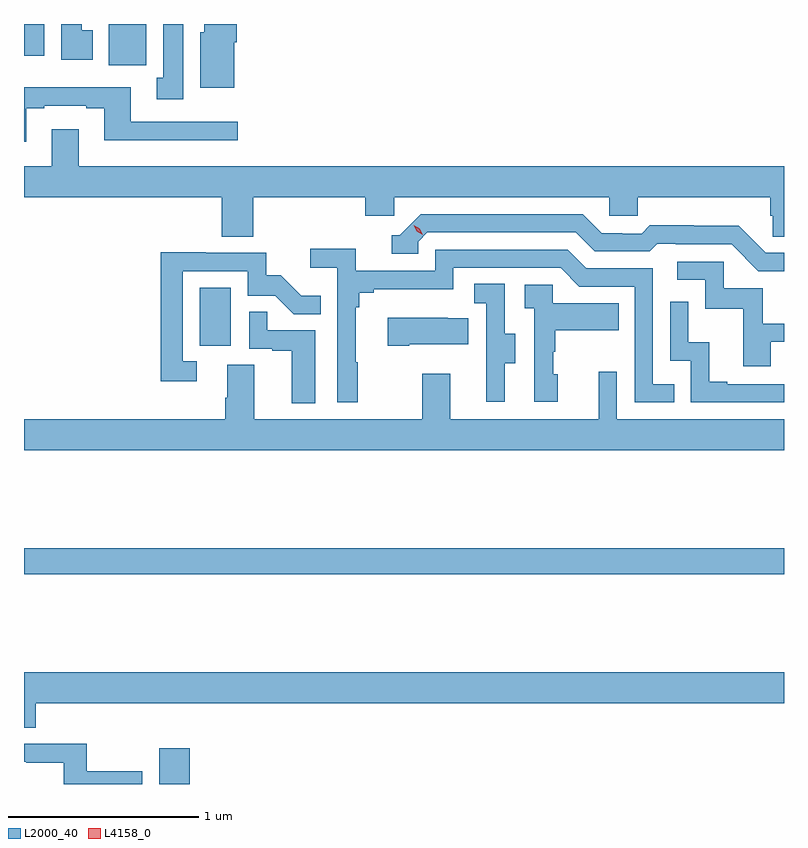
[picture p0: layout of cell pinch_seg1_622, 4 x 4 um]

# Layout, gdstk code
import gdstk
lib = gdstk.Library(unit=1e-6, precision=1e-09)
def R(c, l, rs):  # rectangles x0, y0, x1, y1
    for r in rs: c.add(gdstk.rectangle(r[:2], r[2:], *l))
def P(c, l, *ps):  # polygons
    for p in ps: c.add(gdstk.Polygon(p, *l))
L2000_40 = (2000, 40)
L4158_0 = (4158, 0)

pinch_seg1_622 = lib.new_cell('pinch_seg1_622')
R(pinch_seg1_622, L2000_40, [(1126.589,514.012,1126.75,514.201), (1125.878,515.116,1129.878,515.252), (1126.802,516.318,1126.966,516.625), (1126.325,517.796,1126.522,518.012), (1125.878,517.844,1125.985,518.012)])
P(pinch_seg1_622, L2000_40, [(1126.717,518.012),(1126.61,518.012),(1126.61,517.73),(1126.577,517.73),(1126.577,517.617),(1126.717,517.617)],
  [(1126.984,517.916),(1126.997,517.916),(1126.997,518.012),(1126.826,518.012),(1126.826,517.968),(1126.805,517.968),(1126.805,517.676),(1126.984,517.676)],
  [(1126.24,517.98),(1126.183,517.98),(1126.183,518.012),(1126.073,518.012),(1126.073,517.824),(1126.24,517.824)],
  [(1125.889,517.569),(1125.985,517.569),(1125.985,517.581),(1126.205,517.581),(1126.205,517.569),(1126.301,517.569),(1126.301,517.4),(1127.002,517.4),(1127.002,517.497),(1126.441,517.497),(1126.441,517.678),(1125.878,517.678),(1125.878,517.392),(1125.889,517.392)],
  [(1127.084,517.1),(1127.675,517.1),(1127.675,517.002),(1127.826,517.002),(1127.826,517.1),(1128.957,517.1),(1128.957,517.002),(1129.107,517.002),(1129.107,517.1),(1129.805,517.1),(1129.805,517.002),(1129.819,517.002),(1129.819,516.892),(1129.878,516.892),(1129.878,517.264),(1126.165,517.264),(1126.165,517.459),(1126.025,517.459),(1126.025,517.264),(1125.878,517.264),(1125.878,517.1),(1126.919,517.1),(1126.919,516.892),(1127.084,516.892)],
  [(1129.878,516.807),(1129.782,516.807),(1129.64,516.949),(1129.404,516.949),(1129.404,516.952),(1129.171,516.952),(1129.129,516.909),(1129.026,516.909),(1129.026,516.912),(1128.919,516.912),(1128.82,517.011),(1127.967,517.011),(1127.856,516.9),(1127.813,516.9),(1127.813,516.804),(1127.952,516.804),(1127.952,516.867),(1128,516.915),(1128.783,516.915),(1128.882,516.816),(1129.171,516.816),(1129.21,516.855),(1129.309,516.855),(1129.309,516.852),(1129.602,516.852),(1129.743,516.711),(1129.878,516.711)],
  [(1127.635,516.233),(1127.623,516.233),(1127.623,516.521),(1127.642,516.521),(1127.642,516.598),(1127.719,516.598),(1127.719,516.617),(1128.138,516.617),(1128.138,516.729),(1128.702,516.729),(1128.801,516.63),(1129.092,516.63),(1129.092,516.021),(1129.301,516.021),(1129.301,516.117),(1129.188,516.117),(1129.188,516.726),(1128.838,516.726),(1128.739,516.825),(1128.042,516.825),(1128.042,516.714),(1127.624,516.714),(1127.624,516.83),(1127.385,516.83),(1127.385,516.728),(1127.526,516.728),(1127.526,516.02),(1127.635,516.02)],
  [(1126.786,516.237),(1126.713,516.237),(1126.713,516.711),(1127.055,516.711),(1127.055,516.582),(1127.2,516.582),(1127.298,516.484),(1127.441,516.484),(1127.441,516.583),(1127.337,516.583),(1127.23,516.69),(1127.154,516.69),(1127.154,516.807),(1126.835,516.807),(1126.835,516.812),(1126.597,516.812),(1126.597,516.132),(1126.786,516.132)],
  [(1129.807,516.339),(1129.878,516.339),(1129.878,516.435),(1129.765,516.435),(1129.765,516.621),(1129.56,516.621),(1129.56,516.762),(1129.317,516.762),(1129.317,516.666),(1129.464,516.666),(1129.464,516.513),(1129.663,516.513),(1129.663,516.21),(1129.807,516.21)],
  [(1128.409,516.226),(1128.463,516.226),(1128.463,516.381),(1128.408,516.381),(1128.408,516.644),(1128.249,516.644),(1128.249,516.541),(1128.312,516.541),(1128.312,516.237),(1128.311,516.237),(1128.311,516.024),(1128.409,516.024)],
  [(1128.688,516.168),(1128.663,516.168),(1128.663,516.287),(1128.673,516.287),(1128.673,516.401),(1129.007,516.401),(1129.007,516.541),(1128.66,516.541),(1128.66,516.639),(1128.513,516.639),(1128.513,516.515),(1128.564,516.515),(1128.564,516.024),(1128.688,516.024)],
  [(1129.878,516.117),(1129.579,516.117),(1129.579,516.13),(1129.484,516.13),(1129.484,516.338),(1129.374,516.338),(1129.374,516.55),(1129.278,516.55),(1129.278,516.24),(1129.386,516.24),(1129.386,516.021),(1129.878,516.021)],
  [(1127.41,516.399),(1127.159,516.399),(1127.159,516.497),(1127.064,516.497),(1127.064,516.303),(1127.185,516.303),(1127.185,516.291),(1127.288,516.291),(1127.288,516.017),(1127.41,516.017)],
  [(1127.905,516.326),(1128.215,516.326),(1128.215,516.463),(1128.107,516.463),(1128.107,516.466),(1127.793,516.466),(1127.793,516.319),(1127.905,516.319)],
  [(1129.878,515.932),(1128.999,515.932),(1128.999,516.181),(1128.902,516.181),(1128.902,515.932),(1128.121,515.932),(1128.121,516.172),(1127.974,516.172),(1127.974,515.932),(1127.089,515.932),(1127.089,516.218),(1126.949,516.218),(1126.949,516.044),(1126.937,516.044),(1126.937,515.932),(1125.878,515.932),(1125.878,515.768),(1129.878,515.768)],
  [(1125.941,514.436),(1129.878,514.436),(1129.878,514.6),(1125.878,514.6),(1125.878,514.309),(1125.941,514.309)],
  [(1126.5,514.078),(1126.207,514.078),(1126.207,514.224),(1125.878,514.224),(1125.878,514.128),(1125.889,514.128),(1125.889,514.123),(1126.086,514.123),(1126.086,514.012),(1126.5,514.012)])
P(pinch_seg1_622, L4158_0, [(1127.977,516.902),(1127.945,516.92),(1127.928,516.953),(1127.928,516.953),(1127.929,516.953),(1127.96,516.934),(1127.977,516.902),(1127.977,516.902)])

lib.write_gds('pinch_seg1_622.gds')
